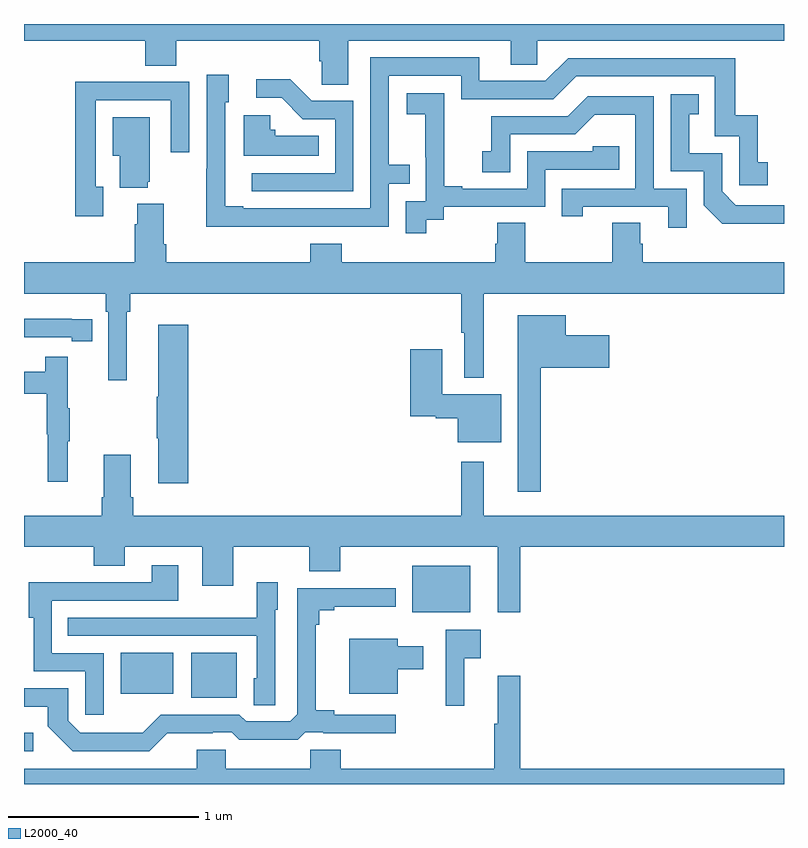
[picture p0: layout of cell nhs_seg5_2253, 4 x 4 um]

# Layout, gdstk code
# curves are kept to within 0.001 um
import gdstk
lib = gdstk.Library(unit=1e-6, precision=1e-09)
def R(c, l, rs):  # rectangles x0, y0, x1, y1
    for r in rs: c.add(gdstk.rectangle(r[:2], r[2:], *l))
def P(c, l, *ps):  # polygons
    for p in ps: c.add(gdstk.Polygon(p, *l))
L2000_40 = (2000, 40)

nhs_seg5_2253 = lib.new_cell('nhs_seg5_2253')
R(nhs_seg5_2253, L2000_40, [(241,900.972,241.048,901.069), (241.88,901.253,242.119,901.489), (241.508,901.274,241.786,901.489), (243.044,901.703,243.349,901.948)])
P(nhs_seg5_2253, L2000_40, [(242.707,904.712),(243.563,904.712),(243.563,904.585),(243.702,904.585),(243.702,904.712),(245,904.712),(245,904.799),(241,904.799),(241,904.712),(241.637,904.712),(241.637,904.579),(241.802,904.579),(241.802,904.712),(242.555,904.712),(242.555,904.603),(242.568,904.603),(242.568,904.48),(242.707,904.48)],
  [(242.423,903.732),(242.919,903.732),(242.919,903.957),(243.029,903.957),(243.029,904.058),(242.919,904.058),(242.919,904.527),(243.3,904.527),(243.3,904.404),(243.786,904.404),(243.906,904.524),(244.635,904.524),(244.635,904.209),(244.764,904.209),(244.764,903.951),(244.915,903.951),(244.915,904.071),(244.862,904.071),(244.862,904.318),(244.744,904.318),(244.744,904.62),(243.864,904.62),(243.744,904.5),(243.397,904.5),(243.397,904.623),(242.823,904.623),(242.823,903.828),(242.155,903.828),(242.155,903.841),(242.058,903.841),(242.058,904.386),(242.077,904.386),(242.077,904.531),(241.962,904.531),(241.962,904.037),(241.96,904.037),(241.96,903.731)],
  [(242.733,904.395),(242.514,904.395),(242.401,904.508),(242.223,904.508),(242.223,904.41),(242.357,904.41),(242.468,904.299),(242.637,904.299),(242.637,904.014),(242.199,904.014),(242.199,903.918),(242.733,903.918)],
  [(241.417,903.942),(241.377,903.942),(241.377,904.398),(241.773,904.398),(241.773,904.125),(241.869,904.125),(241.869,904.494),(241.553,904.494),(241.553,904.496),(241.269,904.496),(241.269,903.786),(241.417,903.786)],
  [(243.118,903.769),(243.21,903.769),(243.21,903.837),(243.744,903.837),(243.744,904.032),(244.133,904.032),(244.133,904.155),(243.993,904.155),(243.993,904.128),(243.648,904.128),(243.648,903.933),(243.307,903.933),(243.307,903.946),(243.212,903.946),(243.212,904.229),(243.213,904.229),(243.213,904.435),(243.015,904.435),(243.015,904.325),(243.113,904.325),(243.113,904.097),(243.114,904.097),(243.114,903.867),(243.009,903.867),(243.009,903.699),(243.118,903.699)],
  [(245,903.846),(244.746,903.846),(244.674,903.918),(244.674,904.119),(244.501,904.119),(244.501,904.323),(244.55,904.323),(244.55,904.429),(244.404,904.429),(244.404,904.023),(244.578,904.023),(244.578,903.846),(244.676,903.749),(245,903.749)],
  [(244.488,903.933),(244.314,903.933),(244.314,904.419),(243.968,904.419),(243.863,904.314),(243.46,904.314),(243.46,904.129),(243.411,904.129),(243.411,904.02),(243.558,904.02),(243.558,904.218),(243.9,904.218),(244.004,904.322),(244.218,904.322),(244.218,903.933),(243.829,903.933),(243.829,903.786),(243.94,903.786),(243.94,903.837),(244.391,903.837),(244.391,903.726),(244.488,903.726)],
  [(242.552,904.21),(242.322,904.21),(242.322,904.242),(242.295,904.242),(242.295,904.318),(242.156,904.318),(242.156,904.106),(242.552,904.106)],
  [(241.652,903.969),(241.663,903.969),(241.663,904.309),(241.466,904.309),(241.466,904.106),(241.505,904.106),(241.505,903.938),(241.652,903.938)],
  [(241.54,903.284),(241.559,903.284),(241.559,903.38),(243.3,903.38),(243.3,903.175),(243.317,903.175),(243.317,902.936),(243.421,902.936),(243.421,903.38),(245,903.38),(245,903.544),(244.256,903.544),(244.256,903.642),(244.243,903.642),(244.243,903.752),(244.096,903.752),(244.096,903.544),(243.639,903.544),(243.639,903.752),(243.491,903.752),(243.491,903.642),(243.479,903.642),(243.479,903.544),(242.672,903.544),(242.672,903.643),(242.507,903.643),(242.507,903.544),(241.748,903.544),(241.748,903.64),(241.735,903.64),(241.735,903.853),(241.595,903.853),(241.595,903.746),(241.583,903.746),(241.583,903.544),(241,903.544),(241,903.38),(241.43,903.38),(241.43,903.284),(241.443,903.284),(241.443,902.925),(241.54,902.925)],
  [(243.721,902.99),(244.081,902.99),(244.081,903.16),(243.85,903.16),(243.85,903.265),(243.599,903.265),(243.599,902.337),(243.721,902.337)],
  [(241.358,903.246),(241.25,903.246),(241.25,903.247),(241,903.247),(241,903.15),(241.25,903.15),(241.25,903.13),(241.358,903.13)],
  [(241.865,903.217),(241.706,903.217),(241.706,902.837),(241.699,902.837),(241.699,902.62),(241.706,902.62),(241.706,902.382),(241.865,902.382)],
  [(243.511,902.851),(243.202,902.851),(243.202,903.088),(243.032,903.088),(243.032,902.735),(243.168,902.735),(243.168,902.723),(243.284,902.723),(243.284,902.597),(243.511,902.597)],
  [(241.229,902.603),(241.24,902.603),(241.24,902.777),(241.229,902.777),(241.229,903.049),(241.111,903.049),(241.111,902.97),(241,902.97),(241,902.854),(241.119,902.854),(241.119,902.64),(241.126,902.64),(241.126,902.391),(241.229,902.391)],
  [(243.611,902.048),(245,902.048),(245,902.212),(243.421,902.212),(243.421,902.494),(243.3,902.494),(243.3,902.212),(241.574,902.212),(241.574,902.308),(241.561,902.308),(241.561,902.533),(241.421,902.533),(241.421,902.308),(241.409,902.308),(241.409,902.212),(241,902.212),(241,902.048),(241.367,902.048),(241.367,901.949),(241.531,901.949),(241.531,902.048),(241.937,902.048),(241.937,901.842),(242.101,901.842),(242.101,902.048),(242.501,902.048),(242.501,901.92),(242.665,901.92),(242.665,902.048),(243.494,902.048),(243.494,901.704),(243.611,901.704)],
  [(241.419,901.488),(241.146,901.488),(241.146,901.764),(241.813,901.764),(241.813,901.951),(241.673,901.951),(241.673,901.86),(241.243,901.86),(241.243,901.862),(241.025,901.862),(241.025,901.674),(241.05,901.674),(241.05,901.392),(241.323,901.392),(241.323,901.164),(241.419,901.164)],
  [(242.322,901.716),(242.335,901.716),(242.335,901.861),(242.226,901.861),(242.226,901.675),(241.909,901.675),(241.909,901.674),(241.231,901.674),(241.231,901.578),(242.226,901.578),(242.226,901.356),(242.21,901.356),(242.21,901.213),(242.322,901.213)],
  [(241.754,901.067),(241.994,901.067),(241.994,901.071),(242.094,901.071),(242.134,901.032),(242.441,901.032),(242.481,901.071),(242.575,901.071),(242.575,901.067),(242.956,901.067),(242.956,901.164),(242.632,901.164),(242.632,901.187),(242.536,901.187),(242.536,901.637),(242.555,901.637),(242.555,901.714),(242.632,901.714),(242.632,901.733),(242.956,901.733),(242.956,901.83),(242.439,901.83),(242.439,901.167),(242.4,901.128),(242.169,901.128),(242.133,901.164),(241.719,901.164),(241.625,901.07),(241.52,901.07),(241.52,901.068),(241.296,901.068),(241.233,901.131),(241.233,901.302),(241,901.302),(241,901.205),(241.126,901.205),(241.126,901.103),(241.256,900.972),(241.659,900.972)],
  [(243.317,901.46),(243.403,901.46),(243.403,901.612),(243.219,901.612),(243.219,901.212),(243.317,901.212)],
  [(242.968,901.403),(243.1,901.403),(243.1,901.525),(242.968,901.525),(242.968,901.564),(242.711,901.564),(242.711,901.274),(242.968,901.274)],
  [(245,900.88),(243.611,900.88),(243.611,901.369),(243.494,901.369),(243.494,901.116),(243.475,901.116),(243.475,900.88),(242.666,900.88),(242.666,900.978),(242.506,900.978),(242.506,900.88),(242.061,900.88),(242.061,900.978),(241.91,900.978),(241.91,900.88),(241,900.88),(241,900.799),(245,900.799)])

lib.write_gds('nhs_seg5_2253.gds')
